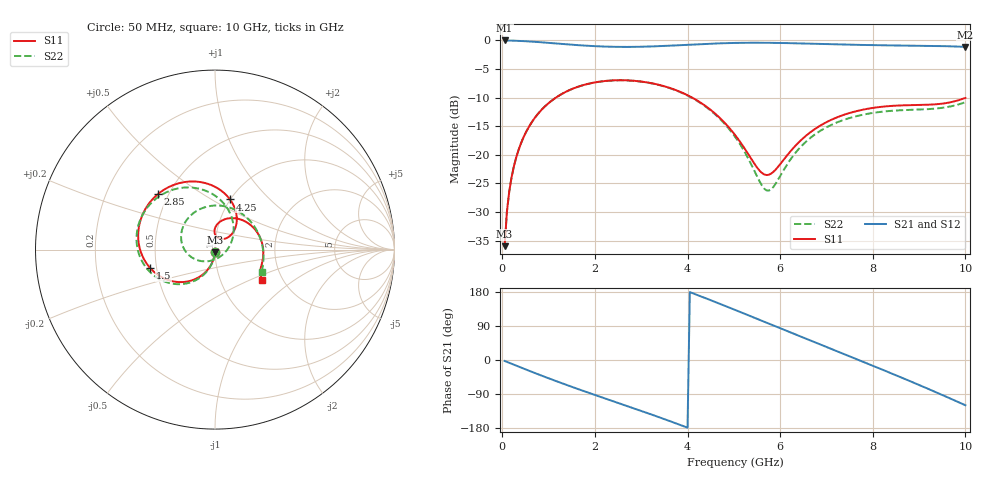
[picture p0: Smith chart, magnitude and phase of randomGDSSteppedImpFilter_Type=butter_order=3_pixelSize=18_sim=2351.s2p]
! freq	dB(S11)	phase(S11)	dB(S12)	phase(S12)
!  dB(S21)	phase(S21)	dB(S22)	phase(S22)
!S-par simulation data
#  GHz  S  DB  R 50
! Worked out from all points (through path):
!   200 points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, 50 MHz to 10 GHz, reference 50 ohm
!   highest |S21| = 0.00 dB at 50 MHz (marker M1); lowest = -1.1 dB at 10 GHz (marker M2)
!   group delay of S21, straight-line fit = 132 ps
!   lowest |S11| = -36.0 dB at 50 MHz (marker M3), VSWR 1.03, Z = 49.9 - j1.58 ohm
!   |S11| at or under -10 dB: start of sweep to 1.157 GHz; 4.101 GHz to end of sweep
!   |S22| runs from -35.9 to -7.0 dB; largest |S21 - S12| = 0
!   S11 on the Smith chart (normalised r, x): 50 MHz: 1.00, -0.03; 1.5 GHz: 0.46, -0.11; 2.85 GHz: 0.44, +0.34; 4.25 GHz: 1.00, +0.61; 10 GHz: 1.58, -0.60
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0.05  -35.98 -92.7  -0.00 -2.5  -0.00 -2.5  -35.92 -92.4
0.1  -29.95 -95.4  -0.01 -5.0  -0.01 -5.0  -29.91 -94.9
0.2  -23.95 -100.7  -0.03 -9.9  -0.03 -9.9  -23.94 -99.9
0.45  -17.09 -113.5  -0.12 -22.2  -0.12 -22.2  -17.10 -112.0
0.9  -11.70 -135.9  -0.36 -43.6  -0.36 -43.6  -11.70 -132.6
1.5  -8.51 -164.1  -0.75 -70.8  -0.75 -70.8  -8.51 -158.7
1.75  -7.80 -175.5  -0.89 -81.6  -0.89 -81.6  -7.81 -169.0
2.3  -7.03 160.2  -1.09 -104.9  -1.09 -104.9  -7.04 168.8
2.85  -7.06 136.1  -1.12 -128.0  -1.12 -128.0  -7.07 146.9
3.4  -7.80 111.7  -1.00 -151.6  -1.00 -151.6  -7.83 124.4
4.25  -10.71 73.3  -0.66 169.7  -0.66 169.7  -10.79 86.7
5.05  -16.78 44.1  -0.43 131.0  -0.43 131.0  -17.12 42.2
5.55  -22.72 53.9  -0.40 106.3  -0.40 106.3  -24.56 -13.5
5.75  -23.50 72.4  -0.41 96.3  -0.41 96.3  -26.28 -59.1
6.2  -19.60 91.5  -0.47 73.9  -0.47 73.9  -21.08 -131.9
6.7  -15.77 78.0  -0.57 49.2  -0.57 49.2  -16.74 -166.2
7.15  -13.72 58.1  -0.67 27.0  -0.67 27.0  -14.60 170.4
7.55  -12.57 39.2  -0.75 7.2  -0.75 7.2  -13.45 150.7
8.35  -11.48 4.5  -0.87 -32.6  -0.87 -32.6  -12.34 107.5
9.2  -11.24 -21.2  -0.94 -76.3  -0.94 -76.3  -12.01 47.2
9.6  -10.93 -27.8  -1.01 -97.6  -1.01 -97.6  -11.66 11.7
10  -10.05 -32.8  -1.13 -119.4  -1.13 -119.4  -10.80 -26.0
